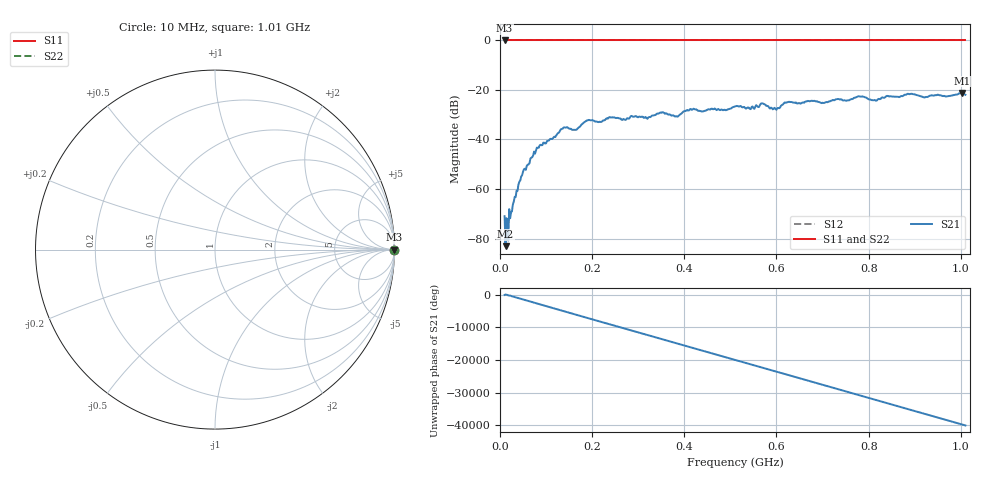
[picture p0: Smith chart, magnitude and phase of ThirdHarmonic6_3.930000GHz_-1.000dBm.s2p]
! 8/17/2025 1:53:22 PM
! C:\ANRITSUVNA\TEMP\TEMP.S2P
! CHANNEL.1
! TR.MEASUREMENT
! RAW.DATA
! RF.CORRECTION.OFF
! AVERAGING.OFF
! IF.BANDWIDTH: 5KHZ
! SWEEPTYPE:  FREQ.SWEEP(Linear)
! Reference Plane Port Info
! PORT:  PORT1  PORT2
! DISTANCE:  0  m  0  m
! TIME:  0  s  0  s
! PHASE.OFFSET:  0  deg.  0  deg.
! LOSS:  0  dB  0  dB
! REF.LOSS:  0  dB  0  dB
! REF.FREQ:  0  Hz  0  Hz
! Power Info
! POWER:  -20  dBm  -20  dBm
! EFF.POWER:  -20  dBm  -20  dBm
! SOURCE.ATTEN:  0  dB  0  dB
! TEST.ATTEN:  0  dB  0  dB
# GHZ S RI R 50.0
! FREQ.GHZ  S11RE  S11IM  S21RE  S21IM  S12RE  S12IM  S22RE  S22IM
!; PortSelection: Port_12
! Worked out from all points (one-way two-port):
!   501 points, 10 MHz to 1.01 GHz, reference 50 ohm
!   highest |S21| = -21.18 dB at 1.002 GHz (marker M1); lowest = -83.1 dB at 12 MHz (marker M2)
!   lowest |S11| = 0.0 dB at 10 MHz (marker M3)
!   |S11| at or under -10 dB: nowhere
!   |S22| runs from 0.0 to 0.0 dB; largest |S21 - S12| = 1.1
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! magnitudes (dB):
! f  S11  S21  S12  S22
! 10 MHz  0.0  -71.0  0.0  0.0
! 12 MHz  0.0  -83.1  0.0  0.0
! 14 MHz  0.0  -71.8  0.0  0.0
! 22 MHz  0.0  -71.8  0.0  0.0
! 32 MHz  0.0  -63.2  0.0  0.0
! 50 MHz  0.0  -53.0  0.0  0.0
! 82 MHz  0.0  -43.3  0.0  0.0
! 136 MHz  0.0  -35.6  0.0  0.0
! 162 MHz  0.0  -36.1  0.0  0.0
! 178 MHz  0.0  -33.8  0.0  0.0
! 344 MHz  0.0  -29.6  0.0  0.0
! 384 MHz  0.0  -30.7  0.0  0.0
! 416 MHz  0.0  -28.0  0.0  0.0
! 510 MHz  0.0  -26.6  0.0  0.0
! 570 MHz  0.0  -25.4  0.0  0.0
! 596 MHz  0.0  -27.2  0.0  0.0
! 622 MHz  0.0  -25.0  0.0  0.0
! 678 MHz  0.0  -24.4  0.0  0.0
! 814 MHz  0.0  -24.1  0.0  0.0
! 844 MHz  0.0  -22.6  0.0  0.0
! 1.002 GHz  0.0  -21.2  0.0  0.0
! 1.01 GHz  0.0  -21.9  0.0  0.0
